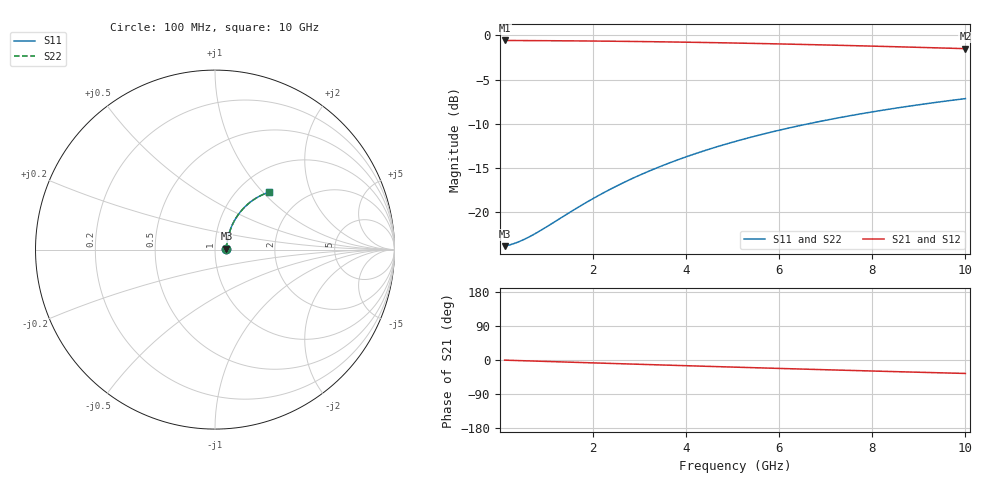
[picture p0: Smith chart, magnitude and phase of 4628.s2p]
# Hz S RI R 50.00
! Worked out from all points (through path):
!   100 points, 100 MHz to 10 GHz, reference 50 ohm
!   highest |S21| = -0.57 dB at 100 MHz (marker M1); lowest = -1.5 dB at 10 GHz (marker M2)
!   group delay of S21, straight-line fit = 9.9 ps
!   lowest |S11| = -23.9 dB at 100 MHz (marker M3), VSWR 1.14, Z = 56.8 + j0.521 ohm
!   |S11| at or under -10 dB: start of sweep to 6.64 GHz
!   |S22| runs from -23.9 to -7.2 dB; largest |S21 - S12| = 0
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1e8  0.0638 0.00457  0.9362 -0.00624  0.9362 -0.00624  0.0638 0.00457
3e8  0.0647 0.0137  0.9353 -0.0187  0.9353 -0.0187  0.0647 0.0137
4e8  0.0652 0.0182  0.9348 -0.0249  0.9348 -0.0249  0.0652 0.0182
5e8  0.0656 0.0228  0.9343 -0.0311  0.9343 -0.0311  0.0656 0.0228
7e8  0.0667 0.0318  0.9332 -0.0435  0.9332 -0.0435  0.0667 0.0318
1e9  0.0686 0.0453  0.9312 -0.062  0.9312 -0.062  0.0686 0.0453
1.8e9  0.0761 0.0807  0.9234 -0.1108  0.9234 -0.1108  0.0761 0.0807
2.2e9  0.0811 0.098  0.9182 -0.1348  0.9182 -0.1348  0.0811 0.098
2.6e9  0.087 0.115  0.912 -0.1584  0.912 -0.1584  0.087 0.115
3e9  0.0937 0.1315  0.905 -0.1816  0.905 -0.1816  0.0937 0.1315
3.4e9  0.1011 0.1475  0.8971 -0.2044  0.8971 -0.2044  0.1011 0.1475
3.8e9  0.1094 0.1631  0.8885 -0.2266  0.8885 -0.2266  0.1094 0.1631
4.2e9  0.1184 0.1781  0.879 -0.2483  0.879 -0.2483  0.1184 0.1781
4.6e9  0.128 0.1925  0.8689 -0.2695  0.8689 -0.2695  0.128 0.1925
5.1e9  0.1409 0.2096  0.8552 -0.295  0.8552 -0.295  0.1409 0.2096
5.5e9  0.1519 0.2226  0.8436 -0.3148  0.8436 -0.3148  0.1519 0.2226
5.9e9  0.1635 0.2349  0.8314 -0.3338  0.8314 -0.3338  0.1635 0.2349
6.7e9  0.1879 0.2574  0.8055 -0.3698  0.8055 -0.3698  0.1879 0.2574
7.5e9  0.2138 0.277  0.7779 -0.403  0.7779 -0.403  0.2138 0.277
8.4e9  0.2442 0.2955  0.7453 -0.4369  0.7453 -0.4369  0.2442 0.2955
9.2e9  0.272 0.3089  0.7154 -0.464  0.7154 -0.464  0.272 0.3089
1e10  0.3002 0.3194  0.6849 -0.4884  0.6849 -0.4884  0.3002 0.3194
